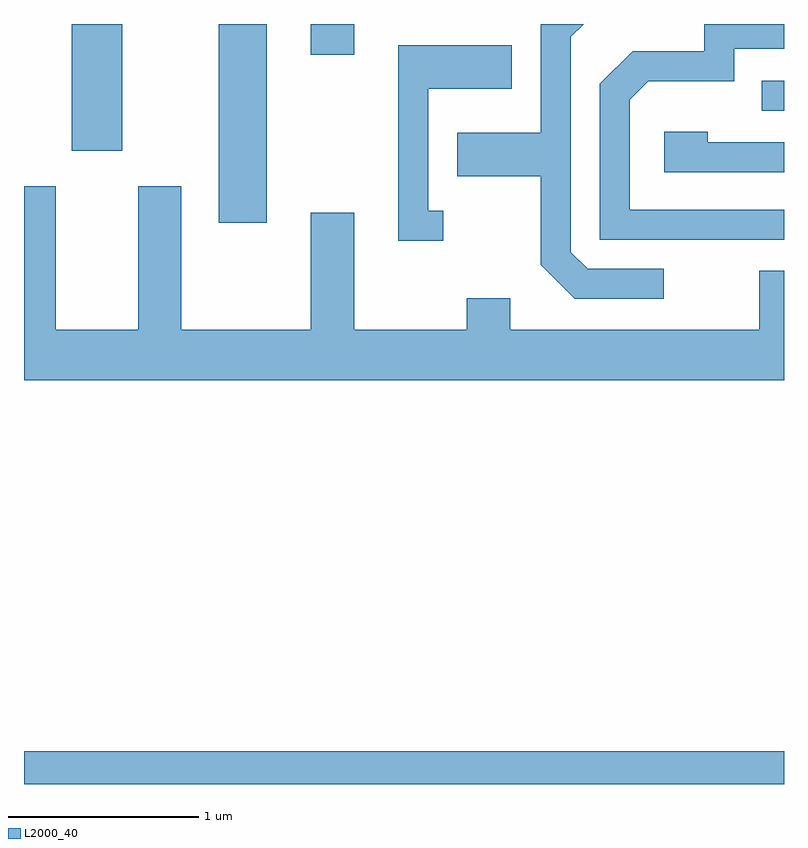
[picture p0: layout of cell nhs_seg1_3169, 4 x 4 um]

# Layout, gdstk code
import gdstk
lib = gdstk.Library(unit=1e-6, precision=1e-09)
def R(c, l, rs):  # rectangles x0, y0, x1, y1
    for r in rs: c.add(gdstk.rectangle(r[:2], r[2:], *l))
def P(c, l, *ps):  # polygons
    for p in ps: c.add(gdstk.Polygon(p, *l))
L2000_40 = (2000, 40)

nhs_seg1_3169 = lib.new_cell('nhs_seg1_3169')
R(nhs_seg1_3169, L2000_40, [(281.611,859.712,285.611,859.884), (282.636,862.666,282.889,863.712), (281.861,863.046,282.129,863.712), (285.493,863.256,285.611,863.414), (283.121,863.551,283.349,863.712)])
P(nhs_seg1_3169, L2000_40, [(284.978,862.424),(284.577,862.424),(284.489,862.512),(284.489,863.644),(284.558,863.712),(284.331,863.712),(284.331,863.139),(283.891,863.139),(283.891,862.911),(284.331,862.911),(284.331,862.444),(284.509,862.266),(284.978,862.266)],
  [(285.611,862.734),(284.799,862.734),(284.799,863.314),(284.897,863.411),(285.349,863.411),(285.349,863.581),(285.611,863.581),(285.611,863.712),(285.191,863.712),(285.191,863.569),(284.814,863.569),(284.641,863.397),(284.641,862.576),(285.611,862.576)],
  [(283.818,862.729),(283.739,862.729),(283.739,863.371),(284.179,863.371),(284.179,863.599),(283.581,863.599),(283.581,862.571),(283.818,862.571)],
  [(285.611,863.089),(285.209,863.089),(285.209,863.144),(284.981,863.144),(284.981,862.931),(285.611,862.931)],
  [(285.611,862.414),(285.481,862.414),(285.481,862.104),(284.169,862.104),(284.169,862.269),(283.941,862.269),(283.941,862.104),(283.349,862.104),(283.349,862.719),(283.121,862.719),(283.121,862.104),(282.439,862.104),(282.439,862.859),(282.211,862.859),(282.211,862.104),(281.779,862.104),(281.779,862.859),(281.611,862.859),(281.611,861.836),(285.611,861.836)])

lib.write_gds('nhs_seg1_3169.gds')
